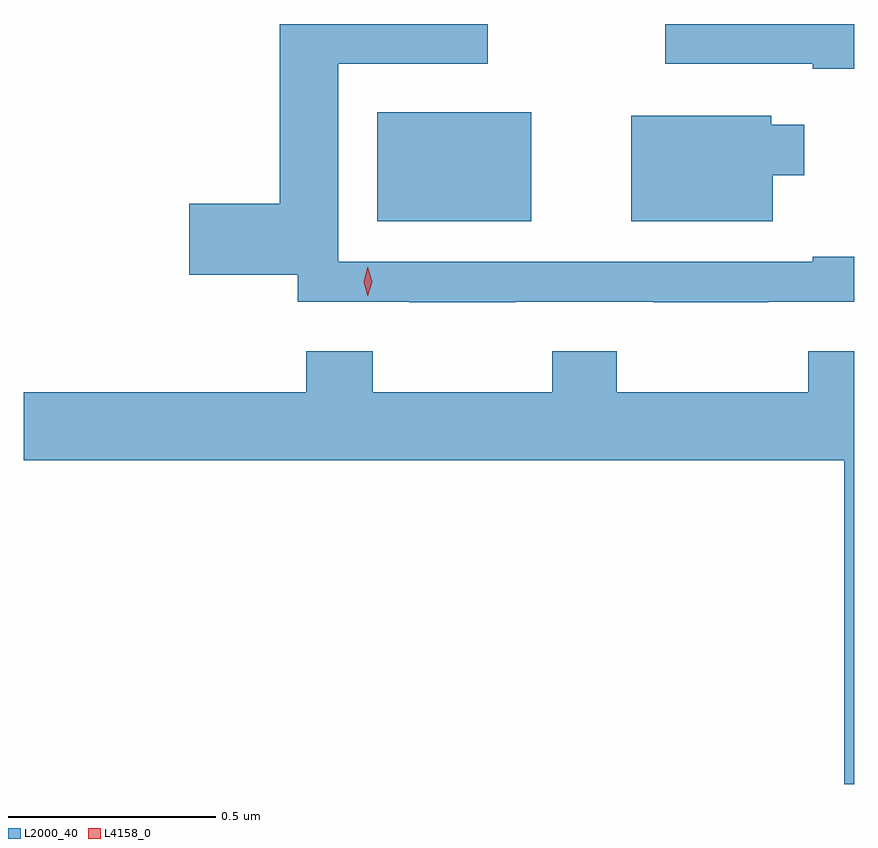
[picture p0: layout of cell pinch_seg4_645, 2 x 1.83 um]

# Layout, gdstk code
import gdstk
lib = gdstk.Library(unit=1e-6, precision=1e-09)
def R(c, l, rs):  # rectangles x0, y0, x1, y1
    for r in rs: c.add(gdstk.rectangle(r[:2], r[2:], *l))
def P(c, l, *ps):  # polygons
    for p in ps: c.add(gdstk.Polygon(p, *l))
L2000_40 = (2000, 40)
L4158_0 = (4158, 0)

pinch_seg4_645 = lib.new_cell('pinch_seg4_645')
R(pinch_seg4_645, L2000_40, [(1036.268,762.764,1036.639,763.027)])
P(pinch_seg4_645, L2000_40, [(1037.417,763.239),(1036.962,763.239),(1036.962,763.143),(1037.317,763.143),(1037.317,763.131),(1037.417,763.131)],
  [(1036.601,762.57),(1036.933,762.57),(1036.933,762.569),(1037.21,762.569),(1037.21,762.57),(1037.417,762.57),(1037.417,762.679),(1037.317,762.679),(1037.317,762.666),(1036.174,762.666),(1036.174,763.143),(1036.534,763.143),(1036.534,763.239),(1036.034,763.239),(1036.034,762.806),(1035.816,762.806),(1035.816,762.635),(1036.077,762.635),(1036.077,762.57),(1036.345,762.57),(1036.345,762.569),(1036.601,762.569)],
  [(1037.221,762.875),(1037.296,762.875),(1037.296,762.997),(1037.217,762.997),(1037.217,763.018),(1036.88,763.018),(1036.88,762.764),(1037.221,762.764)],
  [(1037.417,762.451),(1037.306,762.451),(1037.306,762.352),(1036.845,762.352),(1036.845,762.451),(1036.69,762.451),(1036.69,762.352),(1036.257,762.352),(1036.257,762.451),(1036.097,762.451),(1036.097,762.352),(1035.417,762.352),(1035.417,762.188),(1037.393,762.188),(1037.393,761.409),(1037.417,761.409)])
P(pinch_seg4_645, L4158_0, [(1036.245,762.583),(1036.236,762.618),(1036.245,762.654),(1036.246,762.654),(1036.246,762.654),(1036.256,762.618),(1036.246,762.583),(1036.246,762.583)])

lib.write_gds('pinch_seg4_645.gds')
